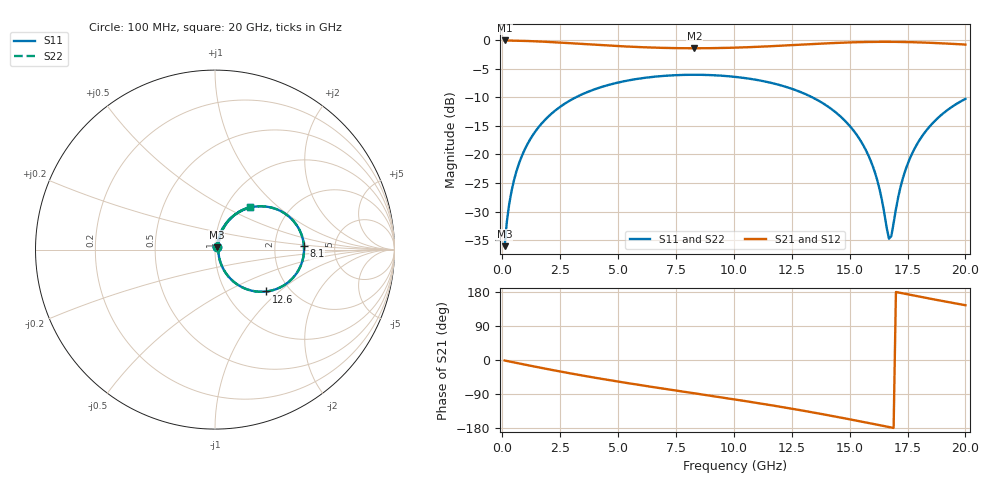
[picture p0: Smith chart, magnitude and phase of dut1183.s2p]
! Touchstone file exported from HFSS 2026.1.0
!  File:  C:/ffzhzh/LocalFiles/Ansys_Project_Files/temp_train_TSV_RDL_1183_1783316094_5512.aedt
!  Generated:  01:44:54 PM Jul  6, 2026
!  Design:  TSV_RDL
!  Project:  temp_train_TSV_RDL_1183_1783316094_5512
! Variables:
!  h_bsmrdl = 5.68um
!  h_ox = 20um
!  h_rdl = 5um
!  h_sub = 50.73um
!  h_tmrdl = 5.57um
!  h_tsv = 50.73um
!  h_via = 3um
!  l_bsmrdl = 601.3um
!  l_sub = 3896.11um
!  l_tmrdl = 385.8um
!  m_sub = 200um
!  pitch = 52.41um
!  r_tsv = 10.47um
!  s_tmrdl = 10um
!  w_bsmrdl = 25.37um
!  w_sub = 500um
!  w_tmrdl = 24.3um
!  x_tsv_center1 = 397.95um
!  x_tsv_center2 = 1024.62um
!  x_tsv_center3 = 1434.72um
!  x_tsv_center4 = 2061.39um
!  x_tsv_center5 = 2471.49um
!  x_tsv_center6 = 3098.16um
# GHz S MA R 50.000000
! Terminal data exported
! Port[1] = TM_RDL1_1_T1
! Port[2] = TM_RDL5_1_T1
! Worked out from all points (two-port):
!   200 points, 100 MHz to 20 GHz, reference 50 ohm
!   highest |S21| = -0.09 dB at 100 MHz (marker M1); lowest = -1.5 dB at 8.3 GHz (marker M2)
!   |S21| within 3 dB of the highest: start of sweep to end of sweep
!   lowest |S11| = -36.1 dB at 100 MHz (marker M3), VSWR 1.03, Z = 51 + j1.24 ohm
!   |S11| at or under -10 dB: start of sweep to 3.191 GHz; 13.37 GHz to end of sweep
!   |S22| runs from -36.1 to -6.1 dB; largest |S21 - S12| = 4.7e-14
!   S11 on the Smith chart (normalised r, x): 100 MHz: 1.02, +0.02; 8.1 GHz: 2.96, +0.15; 12.6 GHz: 1.53, -0.83; 20 GHz: 1.28, +0.67
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0.1  0.01574 50.3  0.9901 -1.3  0.9901 -1.3  0.01574 50.3
! Gamma 0 0 0 0
! Port Impedance 50 0 50 0
0.2  0.0261 63.8  0.9893 -2.6  0.9893 -2.6  0.0261 63.8
0.4  0.04782 71.4  0.9877 -5.1  0.9877 -5.1  0.04782 71.4
0.7  0.08088 72.7  0.9848 -8.8  0.9848 -8.8  0.08088 72.7
1  0.1135 71.0  0.9808 -12.5  0.9808 -12.5  0.1135 71.0
2  0.2151 61.3  0.9609 -24.6  0.9609 -24.6  0.2151 61.3
3.5  0.3385 45.3  0.9214 -41.4  0.9214 -41.4  0.3385 45.3
6.8  0.482 13.7  0.8542 -74.1  0.8542 -74.1  0.482 13.7
8.1  0.4961 2.2  0.8463 -86.1  0.8463 -86.1  0.4961 2.1
8.3  0.4963 0.4  0.8461 -88.0  0.8461 -88.0  0.4963 0.4
10.1  0.4746 -15.7  0.8574 -104.7  0.8574 -104.7  0.4746 -15.7
12.6  0.3685 -39.3  0.9032 -129.6  0.9032 -129.6  0.3685 -39.3
13.4  0.3142 -47.2  0.9212 -138.2  0.9212 -138.2  0.3142 -47.3
14.7  0.2058 -59.9  0.9471 -152.9  0.9471 -152.9  0.2058 -60.0
15.6  0.119 -66.7  0.959 -163.6  0.959 -163.6  0.119 -66.7
16.2  0.05877 -64.7  0.9629 -170.8  0.9629 -170.8  0.05875 -64.7
16.7  0.01831 -9.7  0.9633 -176.9  0.9633 -176.9  0.01829 -9.7
16.8  0.01923 21.5  0.963 -178.1  0.963 -178.1  0.01922 21.5
17.3  0.06177 67.6  0.9603 175.8  0.9603 175.8  0.06178 67.6
17.8  0.1117 69.4  0.9551 169.8  0.9551 169.8  0.1117 69.4
18.7  0.1978 63.1  0.9405 159.2  0.9405 159.2  0.1978 63.1
20  0.3054 50.6  0.9117 144.6  0.9117 144.6  0.3054 50.6
